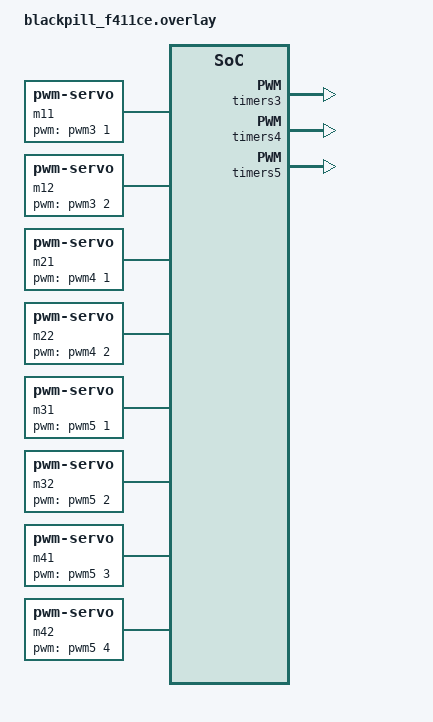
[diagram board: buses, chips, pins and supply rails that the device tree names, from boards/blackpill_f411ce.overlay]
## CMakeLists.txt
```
# SPDX-License-Identifier: Apache-2.0

cmake_minimum_required(VERSION 3.20.0)

find_package(Zephyr REQUIRED HINTS $ENV{ZEPHYR_BASE})
project(motor_driver)

target_sources(app PRIVATE src/main.c)
```

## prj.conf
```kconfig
CONFIG_LOG=y
CONFIG_GPIO=y
CONFIG_PRINTK=y
CONFIG_PWM=y
CONFIG_COUNTER=y
CONFIG_COUNTER_INIT_PRIORITY=50
CONFIG_COUNTER_TIMER_STM32=y
CONFIG_COUNTER_RTC_STM32=n
```

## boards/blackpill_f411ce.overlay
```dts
/ {
    m11:m11 {
        compatible = "pwm-servo";
        pwms = <&pwm3 1 5000 PWM_POLARITY_NORMAL>;
        min-pulse = <PWM_USEC(700)>;
        max-pulse = <PWM_USEC(2500)>;
        status = "okay";
    };
    m12:m12{
        compatible = "pwm-servo";
        pwms = <&pwm3 2 5000 PWM_POLARITY_NORMAL>;
        min-pulse = <PWM_USEC(700)>;
        max-pulse = <PWM_USEC(2500)>;
    };

    m21:m21 {
        compatible = "pwm-servo";
        pwms = <&pwm4 1 5000 PWM_POLARITY_NORMAL>;
        min-pulse = <PWM_USEC(700)>;
        max-pulse = <PWM_USEC(2500)>;
        status = "okay";
    };

    m22:m22{
        compatible = "pwm-servo";
        pwms = <&pwm4 2 5000 PWM_POLARITY_NORMAL>;
        min-pulse = <PWM_USEC(700)>;
        max-pulse = <PWM_USEC(2500)>;
    };

    m31:m31 {
        compatible = "pwm-servo";
        pwms = <&pwm5 1 5000 PWM_POLARITY_NORMAL>;
        min-pulse = <PWM_USEC(700)>;
        max-pulse = <PWM_USEC(2500)>;
        status = "okay";
    };

    m32:m32{
        compatible = "pwm-servo";
        pwms = <&pwm5 2 5000 PWM_POLARITY_NORMAL>;
        min-pulse = <PWM_USEC(700)>;
        max-pulse = <PWM_USEC(2500)>;
    };

    m41:m41 {
        compatible = "pwm-servo";
        pwms = <&pwm5 3 5000 PWM_POLARITY_NORMAL>;
        min-pulse = <PWM_USEC(700)>;
        max-pulse = <PWM_USEC(2500)>;
        status = "okay";
    };
    
    m42:m42{
        compatible = "pwm-servo";
        pwms = <&pwm5 4 5000 PWM_POLARITY_NORMAL>;
        min-pulse = <PWM_USEC(700)>;
        max-pulse = <PWM_USEC(2500)>;
    };

};

&timers3 {
        status = "okay";

        pwm3: pwm {
                status = "okay";
                pinctrl-0 = <&tim3_ch1_pb4 &tim3_ch2_pb5>;
                pinctrl-names = "default";
        };
};

&timers4 {
        status = "okay";

        pwm4: pwm {
                status = "okay";
                pinctrl-0 = <&tim4_ch1_pb6 &tim4_ch2_pb7>;
                pinctrl-names = "default";
        };
};

&timers5 {
        status = "okay";

        pwm5: pwm {
                status = "okay";
                pinctrl-0 = <&tim5_ch1_pa0 &tim5_ch2_pa1 &tim5_ch3_pa2 &tim5_ch4_pa3>;
                pinctrl-names = "default";
        };
};
```

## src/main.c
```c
/*
 * Copyright (c) 2012-2014 Wind River Systems, Inc.
 *
 * SPDX-License-Identifier: Apache-2.0
 */

#include "zephyr/kernel.h"
#include "zephyr/sys/printk.h"
#include <stdio.h>
#include <zephyr/drivers/gpio.h>
#include <zephyr/devicetree.h>
#include <zephyr/device.h>
#include <zephyr/drivers/pwm.h>

#define MOTORF_LEFT_A DT_NODELABEL(m11)
#define MOTORF_LEFT_B DT_NODELABEL(m12)

#define MOTORF_RIGHT_A DT_NODELABEL(m21)
#define MOTORF_RIGHT_B DT_NODELABEL(m22)

#define MOTORB_LEFT_A DT_NODELABEL(m31)
#define MOTORB_LEFT_B DT_NODELABEL(m32)

#define MOTORB_RIGHT_A DT_NODELABEL(m41)
#define MOTORB_RIGHT_B DT_NODELABEL(m42)

int main(void)
{
    const struct pwm_dt_spec mfl_a = PWM_DT_SPEC_GET(MOTORF_LEFT_A);
    const struct pwm_dt_spec mfl_b = PWM_DT_SPEC_GET(MOTORF_LEFT_B);

    const struct pwm_dt_spec mfr_a = PWM_DT_SPEC_GET(MOTORF_RIGHT_A);
    const struct pwm_dt_spec mfr_b = PWM_DT_SPEC_GET(MOTORF_RIGHT_B);

    const struct pwm_dt_spec mbl_a = PWM_DT_SPEC_GET(MOTORB_LEFT_A);
    const struct pwm_dt_spec mbl_b = PWM_DT_SPEC_GET(MOTORB_LEFT_B);

    const struct pwm_dt_spec mbr_a = PWM_DT_SPEC_GET(MOTORB_RIGHT_A);
    const struct pwm_dt_spec mbr_b = PWM_DT_SPEC_GET(MOTORB_RIGHT_B);

    printf("Hello World! %s\n", CONFIG_BOARD_TARGET);

    if (!pwm_is_ready_dt(&mfl_a) || !pwm_is_ready_dt(&mfl_b) || !pwm_is_ready_dt(&mfr_a) ||
            !pwm_is_ready_dt(&mfr_b) || !pwm_is_ready_dt(&mbl_a) || !pwm_is_ready_dt(&mbl_b) ||
            !pwm_is_ready_dt(&mbr_a) || !pwm_is_ready_dt(&mbr_b)) {
        printk("Error: PWM device  is not ready\n");
        return 0;
    }

    int ret = pwm_set_dt(&mfl_a, mfl_a.period, mfl_a.period);
    ret |= pwm_set_dt(&mfr_a, mfl_a.period, mfl_a.period);
    ret |= pwm_set_dt(&mbl_a, mfl_a.period, mfl_a.period);
    ret |= pwm_set_dt(&mbr_a, mfl_a.period, mfl_a.period);
    if (ret) {
        printk("Error setting motor pulse width: %d\n", ret);
    }
    k_msleep(1000);
    int speed = mfl_a.period;
    for (int i =speed; i> 0; i=i-100)
    {
        ret = pwm_set_dt(&mfl_a, mfl_a.period, i);

        ret = pwm_set_dt(&mfr_a, mfl_a.period, i);

        ret = pwm_set_dt(&mbl_a, mfl_a.period, i);

        ret = pwm_set_dt(&mbr_a, mfl_a.period, i);
        printk("Speed: %d\n", i);

        k_msleep(2000);


        if (ret) {
            printk("Opps: Unable to set the pwm: %d\n", ret);
        }
    }
    printk("PWM is set!\n");
    while (1) {
        k_msleep(1000);
    }
    return 0;
}
```
